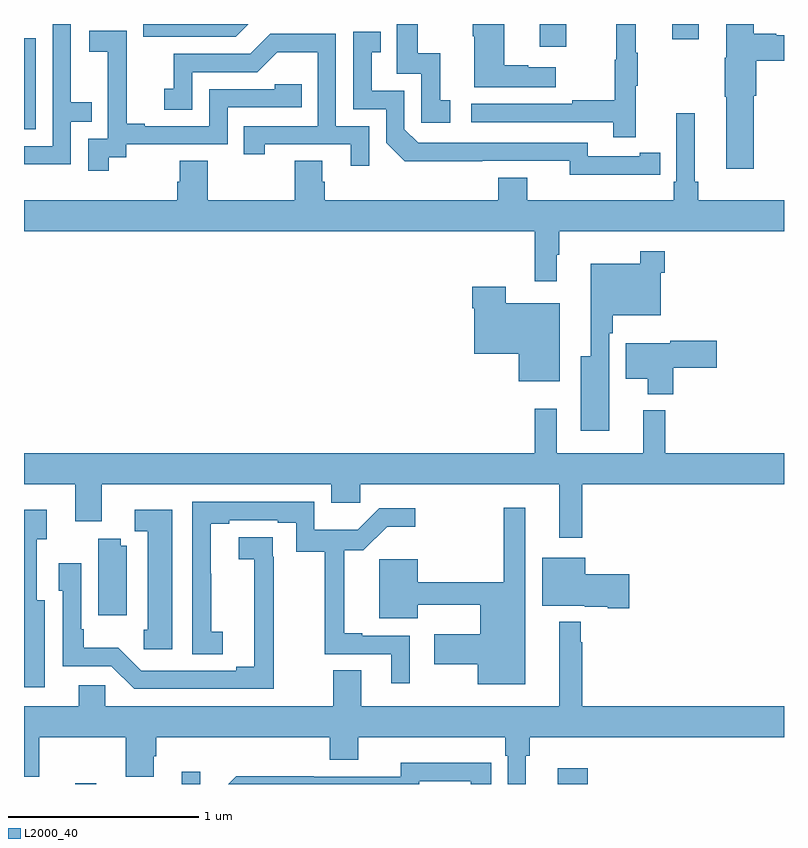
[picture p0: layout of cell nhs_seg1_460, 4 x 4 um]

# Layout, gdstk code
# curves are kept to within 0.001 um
import gdstk
lib = gdstk.Library(unit=1e-6, precision=1e-09)
def R(c, l, rs):  # rectangles x0, y0, x1, y1
    for r in rs: c.add(gdstk.rectangle(r[:2], r[2:], *l))
def P(c, l, *ps):  # polygons
    for p in ps: c.add(gdstk.Polygon(p, *l))
L2000_40 = (2000, 40)

nhs_seg1_460 = lib.new_cell('nhs_seg1_460')
R(nhs_seg1_460, L2000_40, [(137.269,506.199,137.38,506.203), (137.831,506.199,137.928,506.263), (139.808,506.199,139.967,506.281), (137,509.646,137.061,510.123), (139.715,510.078,139.855,510.199), (140.411,510.12,140.551,510.199)])
P(nhs_seg1_460, L2000_40, [(140.842,509.821),(140.855,509.821),(140.855,510.005),(141,510.005),(141,510.139),(140.958,510.139),(140.958,510.147),(140.842,510.147),(140.842,510.199),(140.696,510.199),(140.696,510.021),(140.689,510.021),(140.689,509.815),(140.696,509.815),(140.696,509.436),(140.842,509.436)],
  [(137.247,509.685),(137.357,509.685),(137.357,509.786),(137.247,509.786),(137.247,510.199),(137.151,510.199),(137.151,509.556),(137,509.556),(137,509.46),(137.247,509.46)],
  [(138.181,510.199),(137.628,510.199),(137.628,510.132),(138.114,510.132)],
  [(140.219,509.875),(140.23,509.875),(140.23,510.049),(140.219,510.049),(140.219,510.199),(140.116,510.199),(140.116,510.012),(140.109,510.012),(140.109,509.798),(139.885,509.798),(139.885,509.778),(139.353,509.778),(139.353,509.682),(140.101,509.682),(140.101,509.604),(140.219,509.604)],
  [(139.243,509.799),(139.19,509.799),(139.19,510.046),(139.072,510.046),(139.072,510.199),(138.963,510.199),(138.963,509.937),(139.092,509.937),(139.092,509.679),(139.243,509.679)],
  [(139.798,509.971),(139.655,509.971),(139.655,509.981),(139.528,509.981),(139.528,510.199),(139.363,510.199),(139.363,510.134),(139.37,510.134),(139.37,509.867),(139.798,509.867)],
  [(137.446,509.497),(137.538,509.497),(137.538,509.565),(138.072,509.565),(138.072,509.76),(138.461,509.76),(138.461,509.883),(138.321,509.883),(138.321,509.856),(137.976,509.856),(137.976,509.661),(137.635,509.661),(137.635,509.674),(137.54,509.674),(137.54,509.957),(137.541,509.957),(137.541,510.163),(137.343,510.163),(137.343,510.053),(137.441,510.053),(137.441,509.825),(137.442,509.825),(137.442,509.595),(137.337,509.595),(137.337,509.427),(137.446,509.427)],
  [(140.24,509.406),(140.348,509.406),(140.348,509.522),(140.24,509.522),(140.24,509.502),(139.968,509.502),(139.968,509.574),(139.074,509.574),(139.002,509.646),(139.002,509.847),(138.829,509.847),(138.829,510.051),(138.878,510.051),(138.878,510.157),(138.732,510.157),(138.732,509.751),(138.906,509.751),(138.906,509.574),(139.004,509.477),(139.872,509.478),(139.872,509.405)],
  [(138.816,509.661),(138.642,509.661),(138.642,510.147),(138.296,510.147),(138.191,510.042),(137.788,510.042),(137.788,509.857),(137.739,509.857),(137.739,509.748),(137.886,509.748),(137.886,509.946),(138.228,509.946),(138.332,510.05),(138.546,510.05),(138.546,509.661),(138.157,509.661),(138.157,509.514),(138.268,509.514),(138.268,509.565),(138.719,509.565),(138.719,509.454),(138.816,509.454)],
  [(139.804,508.985),(139.816,508.985),(139.816,509.108),(141,509.108),(141,509.272),(140.549,509.272),(140.549,509.368),(140.53,509.368),(140.53,509.728),(140.433,509.728),(140.433,509.368),(140.42,509.368),(140.42,509.272),(139.648,509.272),(139.648,509.389),(139.496,509.389),(139.496,509.272),(138.584,509.272),(138.584,509.37),(138.571,509.37),(138.571,509.48),(138.424,509.48),(138.424,509.272),(137.967,509.272),(137.967,509.48),(137.819,509.48),(137.819,509.37),(137.807,509.37),(137.807,509.272),(137,509.272),(137,509.108),(139.687,509.108),(139.687,508.845),(139.804,508.845)],
  [(140.08,508.571),(140.099,508.571),(140.099,508.667),(140.352,508.667),(140.352,508.889),(140.372,508.889),(140.372,509.002),(140.244,509.002),(140.244,508.936),(139.982,508.936),(139.982,508.45),(139.931,508.45),(139.931,508.058),(140.08,508.058)],
  [(139.819,508.729),(139.536,508.729),(139.536,508.816),(139.358,508.816),(139.358,508.703),(139.37,508.703),(139.37,508.463),(139.604,508.463),(139.604,508.319),(139.819,508.319)],
  [(140.417,508.39),(140.647,508.39),(140.647,508.532),(140.4,508.532),(140.4,508.519),(140.168,508.519),(140.168,508.331),(140.282,508.331),(140.282,508.25),(140.417,508.25)],
  [(139.939,507.776),(141,507.776),(141,507.94),(140.375,507.94),(140.375,508.165),(140.258,508.165),(140.258,507.94),(139.803,507.94),(139.803,508.174),(139.687,508.174),(139.687,507.94),(137,507.94),(137,507.776),(137.27,507.776),(137.27,507.582),(137.41,507.582),(137.41,507.776),(138.617,507.776),(138.617,507.678),(138.769,507.678),(138.769,507.776),(139.817,507.776),(139.817,507.495),(139.939,507.495)],
  [(139.029,506.979),(138.781,506.979),(138.781,506.992),(138.686,506.992),(138.686,507.429),(138.785,507.429),(138.911,507.554),(139.06,507.554),(139.06,507.651),(138.87,507.651),(138.757,507.538),(138.528,507.538),(138.528,507.684),(137.886,507.684),(137.886,506.881),(138.046,506.881),(138.046,507.001),(137.985,507.001),(137.985,507.305),(137.983,507.305),(137.983,507.568),(138.079,507.568),(138.079,507.588),(138.335,507.588),(138.335,507.574),(138.432,507.574),(138.432,507.421),(138.583,507.421),(138.583,506.883),(138.932,506.883),(138.932,506.73),(139.029,506.73)],
  [(139.639,507.652),(139.525,507.652),(139.525,507.26),(139.072,507.26),(139.072,507.381),(138.869,507.381),(138.869,507.071),(139.072,507.071),(139.072,507.143),(139.4,507.143),(139.4,506.986),(139.158,506.986),(139.158,506.828),(139.388,506.828),(139.388,506.723),(139.639,506.723)],
  [(137.11,507.166),(137.068,507.166),(137.068,507.487),(137.119,507.487),(137.119,507.643),(137,507.643),(137,506.709),(137.11,506.709)],
  [(137.779,507.643),(137.583,507.643),(137.583,507.528),(137.651,507.528),(137.651,507.012),(137.629,507.012),(137.629,506.907),(137.779,506.907)],
  [(138.314,507.395),(138.308,507.395),(138.308,507.497),(138.129,507.497),(138.129,507.382),(138.211,507.382),(138.212,506.816),(138.116,506.816),(138.116,506.796),(137.616,506.796),(137.495,506.917),(137.314,506.917),(137.314,507.013),(137.301,507.013),(137.301,507.361),(137.184,507.361),(137.184,507.216),(137.205,507.216),(137.205,506.82),(137.46,506.82),(137.58,506.7),(138.314,506.7)],
  [(137.542,507.454),(137.51,507.454),(137.51,507.491),(137.39,507.491),(137.39,507.087),(137.542,507.087)],
  [(140.185,507.303),(139.954,507.303),(139.954,507.391),(139.727,507.391),(139.727,507.137),(139.95,507.137),(139.95,507.131),(140.072,507.131),(140.072,507.125),(140.185,507.125)],
  [(139.642,506.348),(139.661,506.348),(139.661,506.444),(141,506.444),(141,506.608),(139.939,506.608),(139.939,506.945),(139.931,506.945),(139.931,507.052),(139.817,507.052),(139.817,506.608),(138.775,506.608),(138.775,506.798),(138.628,506.798),(138.628,506.608),(137.427,506.608),(137.427,506.718),(137.288,506.718),(137.288,506.608),(137,506.608),(137,506.236),(137.079,506.236),(137.079,506.444),(137.536,506.444),(137.536,506.236),(137.683,506.236),(137.683,506.346),(137.696,506.346),(137.696,506.444),(138.608,506.444),(138.608,506.327),(138.76,506.327),(138.76,506.444),(139.532,506.444),(139.532,506.348),(139.545,506.348),(139.545,506.199),(139.642,506.199)],
  [(139.08,506.214),(139.352,506.214),(139.352,506.199),(139.46,506.199),(139.46,506.31),(138.984,506.311),(138.984,506.238),(138.524,506.238),(138.524,506.24),(138.116,506.24),(138.075,506.199),(139.08,506.199)])

lib.write_gds('nhs_seg1_460.gds')
